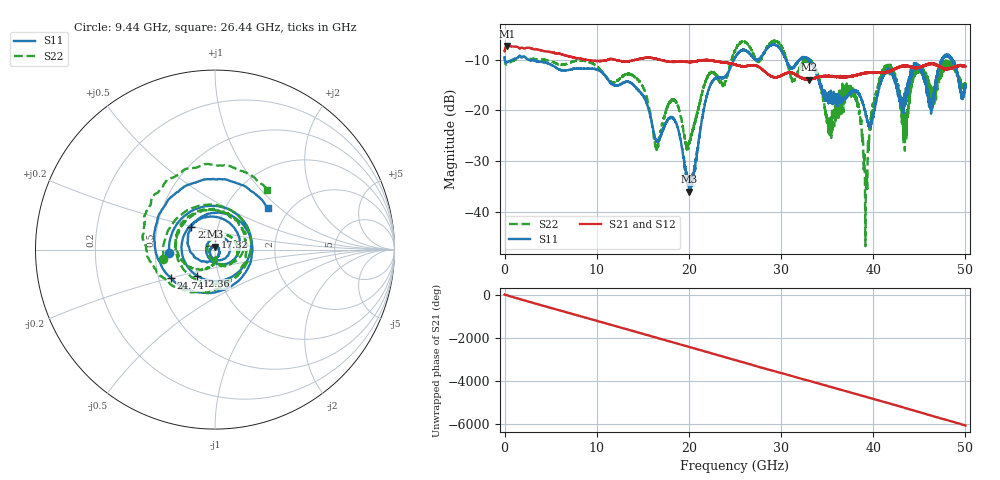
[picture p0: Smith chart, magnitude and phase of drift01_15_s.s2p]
!Created with skrf (http://scikit-rf.org).
# Hz S RI R 50.0
!freq ReS11 ImS11 ReS21 ImS21 ReS12 ImS12 ReS22 ImS22
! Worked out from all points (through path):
!   10001 points, 300 kHz to 50 GHz, reference 50 ohm
!   highest |S21| = -7.33 dB at 310.3 MHz (marker M1); lowest = -14.0 dB at 33 GHz (marker M2)
!   group delay of S21, straight-line fit = 335 ps
!   lowest |S11| = -36.0 dB at 20.01 GHz (marker M3), VSWR 1.03, Z = 49.9 + j1.57 ohm
!   |S11| at or under -10 dB: 2.554 GHz to 24.91 GHz (22.36 GHz wide, 163 % of centre); 30.5 GHz to 32.02 GHz (1.518 GHz wide, 4.86 % of centre); 33.07 GHz to 47.44 GHz (14.37 GHz wide, 35.7 % of centre) (the widest 3 of 19)
!   |S22| runs from -46.8 to -6.2 dB; largest |S21 - S12| = 0.0081
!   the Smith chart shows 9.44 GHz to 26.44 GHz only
!   S11 on the Smith chart (normalised r, x): 9.44 GHz: 0.59, -0.02; 12.36 GHz: 0.79, -0.24; 17.32 GHz: 0.99, +0.14; 22.41 GHz: 0.75, +0.20; 24.74 GHz: 0.58, -0.20; 26.44 GHz: 1.57, +0.83
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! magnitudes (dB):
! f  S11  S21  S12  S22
! 300 kHz  -9.6  -8.4  -8.5  -9.5
! 310.3 MHz  -10.5  -7.3  -7.3  -10.9
! 8.335 GHz  -11.8  -9.9  -9.9  -10.2
! 9.44 GHz  -11.8  -10.2  -10.2  -10.7
! 12.36 GHz  -15.0  -10.2  -10.2  -13.9
! 16.67 GHz  -26.1  -10.0  -10.0  -27.1
! 17.32 GHz  -23.2  -10.2  -10.2  -21.4
! 20.01 GHz  -36.0  -10.5  -10.5  -26.3
! 22.41 GHz  -14.8  -10.2  -10.2  -12.4
! 24.74 GHz  -10.7  -10.9  -10.9  -9.4
! 25 GHz  -9.6  -11.0  -11.0  -8.3
! 26.44 GHz  -8.6  -11.2  -11.2  -7.1
! 33 GHz  -10.0  -14.0  -13.9  -10.1
! 33.34 GHz  -10.8  -13.8  -13.8  -10.6
! 35.23 GHz  -17.6  -13.2  -13.2  -23.0
! 37.99 GHz  -16.2  -13.2  -13.2  -17.0
! 39.17 GHz  -20.7  -12.6  -12.6  -42.3
! 40.16 GHz  -19.9  -12.5  -12.5  -17.7
! 41.67 GHz  -12.1  -12.4  -12.4  -11.7
! 43.39 GHz  -16.7  -11.2  -11.2  -24.2
! 44.88 GHz  -11.2  -11.6  -11.6  -11.6
! 50 GHz  -15.5  -11.4  -11.4  -15.0
